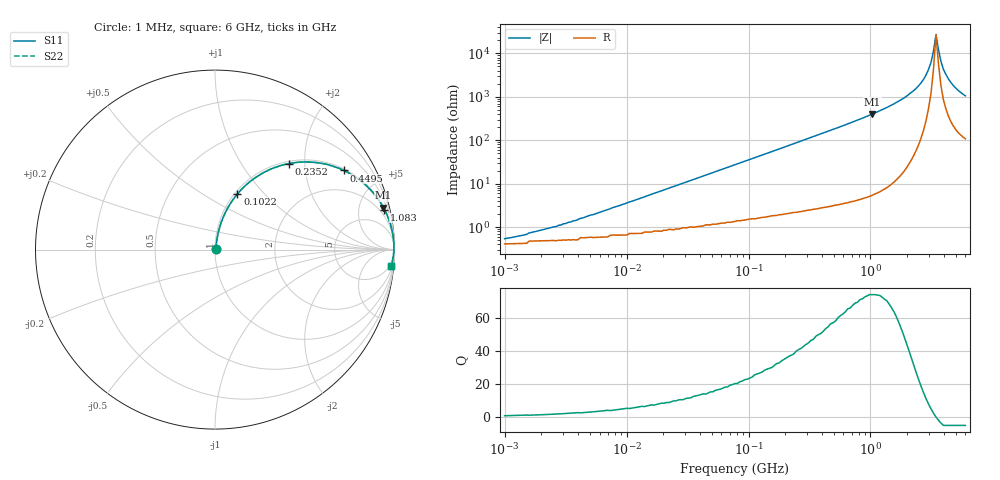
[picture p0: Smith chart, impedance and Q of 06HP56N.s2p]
# MHz S MA R 50
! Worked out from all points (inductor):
!   189 points, 1 MHz to 6 GHz, reference 50 ohm
!   read as one part in series: L = 55.9 nH near 5.051 MHz
!   highest Q = 73.9 at 1.034 GHz (marker M1), where L = 61.5 nH
!   self-resonance near 3.443 GHz
!   S11 on the Smith chart (normalised r, x): 1 MHz: 1.01, +0.01; 102.2 MHz: 1.03, +0.72; 235.2 MHz: 1.04, +1.66; 449.5 MHz: 1.06, +3.22; 1.083 GHz: 1.12, +8.45; 6 GHz: 3, -21
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1  0.005456 39.8  0.996 -0.2  0.996 -0.2  0.005456 39.8
2.643  0.01 61.4  0.995 -0.5  0.995 -0.5  0.01 61.4
4.396  0.016 69.5  0.994 -0.9  0.994 -0.9  0.016 69.5
18.454  0.065 79.2  0.99 -3.7  0.99 -3.7  0.065 79.2
77.46  0.26 72.1  0.953 -15.1  0.953 -15.1  0.26 72.1
102.248  0.335 68.1  0.928 -19.5  0.928 -19.5  0.335 68.1
235.176  0.631 49.4  0.759 -39.1  0.759 -39.1  0.631 49.4
340.538  0.763 39.1  0.63 -49.7  0.63 -49.7  0.763 39.1
449.515  0.842 31.6  0.524 -57.4  0.524 -57.4  0.842 31.6
1033.909  0.967 14.0  0.242 -75.2  0.242 -75.2  0.967 14.0
1082.877  0.97 13.3  0.23 -76.0  0.23 -76.0  0.97 13.3
1429.415  0.984 9.3  0.162 -79.8  0.162 -79.8  0.984 9.3
2167.84  0.995 4.5  0.079 -83.9  0.079 -83.9  0.995 4.5
2732.184  0.997 2.2  0.039 -83.8  0.039 -83.8  0.997 2.2
3139.06  0.997 0.9  0.016 -77.6  0.016 -77.6  0.997 0.9
3287.73  0.997 0.5  0.008711 -66.6  0.008711 -66.6  0.997 0.5
3443.441  0.996 0.0  0.003665 -6.8  0.003665 -6.8  0.996 0.0
3606.527  0.996 -0.4  0.008141 60.9  0.008141 60.9  0.996 -0.4
3777.337  0.996 -0.8  0.015 73.2  0.015 73.2  0.996 -0.8
3956.237  0.995 -1.3  0.023 77.2  0.023 77.2  0.995 -1.3
4760.675  0.992 -3.1  0.054 80.2  0.054 80.2  0.992 -3.1
6000  0.986 -5.4  0.094 78.7  0.094 78.7  0.986 -5.4
